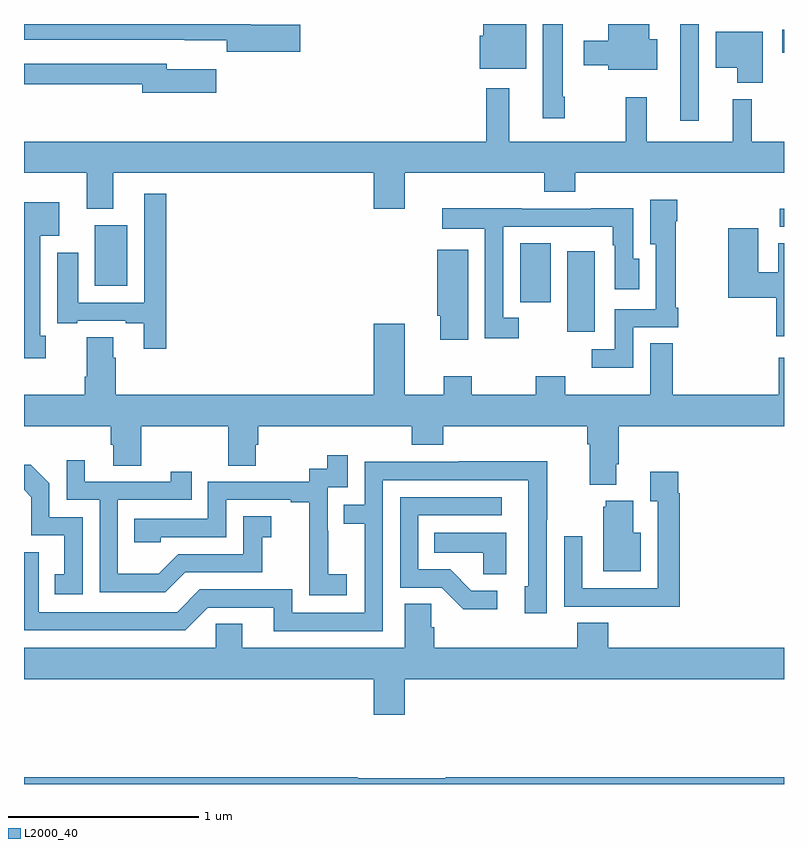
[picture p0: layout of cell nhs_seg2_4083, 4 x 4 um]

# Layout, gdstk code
import gdstk
lib = gdstk.Library(unit=1e-6, precision=1e-09)
def R(c, l, rs):  # rectangles x0, y0, x1, y1
    for r in rs: c.add(gdstk.rectangle(r[:2], r[2:], *l))
def P(c, l, *ps):  # polygons
    for p in ps: c.add(gdstk.Polygon(p, *l))
L2000_40 = (2000, 40)

nhs_seg2_4083 = lib.new_cell('nhs_seg2_4083')
R(nhs_seg2_4083, L2000_40, [(333.86,600.18,334.003,600.604), (333.611,600.336,333.772,600.647), (331.373,600.422,331.543,600.742), (334.977,600.732,335,600.828), (334.455,601.29,334.551,601.8), (334.992,601.649,335,601.771)])
P(nhs_seg2_4083, L2000_40, [(333.643,601.8),(333.416,601.8),(333.416,601.737),(333.398,601.737),(333.398,601.565),(333.643,601.565)],
  [(332.455,601.796),(332.194,601.796),(332.194,601.8),(331,601.8),(331,601.716),(331.846,601.716),(331.846,601.715),(332.066,601.715),(332.066,601.654),(332.455,601.654)],
  [(333.845,601.417),(333.835,601.417),(333.835,601.8),(333.731,601.8),(333.731,601.305),(333.845,601.305)],
  [(334.333,601.719),(334.291,601.719),(334.291,601.8),(334.076,601.8),(334.076,601.711),(333.945,601.711),(333.945,601.582),(334.076,601.582),(334.076,601.559),(334.333,601.559)],
  [(334.888,601.759),(334.64,601.759),(334.64,601.571),(334.754,601.571),(334.754,601.49),(334.888,601.49)],
  [(332.011,601.561),(331.75,601.561),(331.75,601.59),(331,601.59),(331,601.482),(331.622,601.482),(331.622,601.439),(332.011,601.439)],
  [(331.471,601.016),(332.84,601.016),(332.84,600.828),(333.004,600.828),(333.004,601.016),(333.737,601.016),(333.737,600.917),(333.902,600.917),(333.902,601.016),(335,601.016),(335,601.18),(334.83,601.18),(334.83,601.405),(334.73,601.405),(334.73,601.18),(334.277,601.18),(334.277,601.414),(334.167,601.414),(334.167,601.18),(333.553,601.18),(333.553,601.462),(333.432,601.462),(333.432,601.18),(331,601.18),(331,601.016),(331.331,601.016),(331.331,600.827),(331.471,600.827)],
  [(331.748,600.907),(331.632,600.907),(331.632,600.333),(331.285,600.333),(331.285,600.595),(331.175,600.595),(331.175,600.225),(331.279,600.225),(331.279,600.237),(331.535,600.237),(331.535,600.225),(331.631,600.225),(331.631,600.09),(331.748,600.09)],
  [(334.206,600.204),(334.444,600.204),(334.444,600.307),(334.429,600.307),(334.429,600.761),(334.439,600.761),(334.439,600.874),(334.295,600.874),(334.295,600.641),(334.325,600.641),(334.325,600.3),(334.11,600.3),(334.11,600.087),(333.987,600.087),(333.987,599.99),(334.206,599.99)],
  [(331.114,600.159),(331.086,600.159),(331.086,600.686),(331.186,600.686),(331.186,600.862),(331,600.862),(331,600.041),(331.114,600.041)],
  [(333.604,600.255),(333.522,600.255),(333.522,600.732),(334.098,600.732),(334.098,600.635),(334.11,600.635),(334.11,600.405),(334.237,600.405),(334.237,600.564),(334.206,600.564),(334.206,600.83),(333.985,600.83),(333.985,600.828),(333.619,600.828),(333.619,600.83),(333.201,600.83),(333.201,600.722),(333.426,600.722),(333.426,600.147),(333.604,600.147)],
  [(335,600.647),(334.97,600.647),(334.97,600.493),(334.864,600.493),(334.864,600.724),(334.706,600.724),(334.706,600.359),(334.958,600.359),(334.958,600.156),(335,600.156)],
  [(333.337,600.613),(333.176,600.613),(333.176,600.264),(333.191,600.264),(333.191,600.138),(333.337,600.138)],
  [(334.117,599.482),(334.13,599.482),(334.13,599.684),(335,599.684),(335,600.043),(334.973,600.043),(334.973,599.848),(334.414,599.848),(334.414,600.119),(334.295,600.119),(334.295,599.848),(333.849,599.848),(333.849,599.947),(333.694,599.947),(333.694,599.848),(333.357,599.848),(333.357,599.947),(333.209,599.947),(333.209,599.848),(333.004,599.848),(333.004,600.223),(332.84,600.223),(332.84,599.848),(331.484,599.848),(331.484,600.044),(331.471,600.044),(331.471,600.152),(331.331,600.152),(331.331,599.944),(331.319,599.944),(331.319,599.848),(331,599.848),(331,599.684),(331.457,599.684),(331.457,599.586),(331.469,599.586),(331.469,599.476),(331.617,599.476),(331.617,599.684),(332.074,599.684),(332.074,599.476),(332.221,599.476),(332.221,599.586),(332.234,599.586),(332.234,599.684),(333.041,599.684),(333.041,599.585),(333.206,599.585),(333.206,599.684),(333.965,599.684),(333.965,599.588),(333.977,599.588),(333.977,599.375),(334.117,599.375)],
  [(332.698,598.903),(332.6,598.903),(332.6,599.132),(332.598,599.132),(332.598,599.361),(332.703,599.361),(332.703,599.53),(332.595,599.53),(332.595,599.46),(332.502,599.46),(332.502,599.391),(331.968,599.391),(331.968,599.196),(331.579,599.196),(331.579,599.073),(331.719,599.073),(331.719,599.1),(332.064,599.1),(332.064,599.295),(332.405,599.295),(332.405,599.283),(332.501,599.283),(332.501,598.999),(332.5,598.999),(332.5,598.793),(332.698,598.793)],
  [(331.849,598.914),(332.253,598.914),(332.253,599.099),(332.302,599.099),(332.302,599.209),(332.154,599.209),(332.154,599.01),(331.812,599.01),(331.708,598.906),(331.494,598.906),(331.494,599.295),(331.883,599.295),(331.883,599.443),(331.772,599.443),(331.772,599.391),(331.321,599.391),(331.321,599.503),(331.224,599.503),(331.224,599.295),(331.398,599.295),(331.398,598.809),(331.744,598.809)],
  [(332.889,599.4),(333.654,599.4),(333.654,598.842),(333.635,598.842),(333.635,598.698),(333.75,598.698),(333.75,599.191),(333.753,599.191),(333.753,599.498),(333.289,599.498),(333.289,599.496),(332.793,599.496),(332.793,599.271),(332.683,599.271),(332.683,599.17),(332.793,599.17),(332.793,598.701),(332.412,598.701),(332.412,598.824),(331.926,598.824),(331.806,598.704),(331.077,598.704),(331.077,599.019),(331,599.019),(331,598.608),(331.848,598.608),(331.968,598.728),(332.315,598.728),(332.315,598.605),(332.889,598.605)],
  [(331.308,599.205),(331.134,599.205),(331.134,599.382),(331.036,599.48),(331,599.48),(331,599.348),(331.038,599.31),(331.038,599.109),(331.211,599.109),(331.211,598.905),(331.162,598.905),(331.162,598.8),(331.308,598.8)],
  [(334.451,599.33),(334.444,599.33),(334.444,599.443),(334.295,599.443),(334.295,599.287),(334.335,599.287),(334.335,598.83),(333.939,598.83),(333.939,599.104),(333.843,599.104),(333.843,598.734),(334.159,598.734),(334.159,598.733),(334.451,598.733)],
  [(333.49,598.818),(333.355,598.818),(333.244,598.929),(333.075,598.929),(333.075,599.214),(333.514,599.214),(333.514,599.31),(332.979,599.31),(332.979,598.833),(333.198,598.833),(333.311,598.721),(333.49,598.721)],
  [(334.246,599.122),(334.207,599.122),(334.207,599.29),(334.061,599.29),(334.061,599.259),(334.049,599.259),(334.049,598.919),(334.246,598.919)],
  [(333.538,599.122),(333.16,599.122),(333.16,599.018),(333.417,599.018),(333.417,598.903),(333.538,598.903)],
  [(333.004,598.352),(335,598.352),(335,598.516),(334.076,598.516),(334.076,598.649),(333.911,598.649),(333.911,598.516),(333.158,598.516),(333.158,598.625),(333.144,598.625),(333.144,598.748),(333.005,598.748),(333.005,598.516),(332.149,598.516),(332.149,598.643),(332.01,598.643),(332.01,598.516),(331,598.516),(331,598.352),(332.84,598.352),(332.84,598.164),(333.004,598.164)],
  [(335,597.836),(333.22,597.836),(333.22,597.829),(332.756,597.829),(332.756,597.836),(331,597.836),(331,597.8),(335,597.8)])

lib.write_gds('nhs_seg2_4083.gds')
